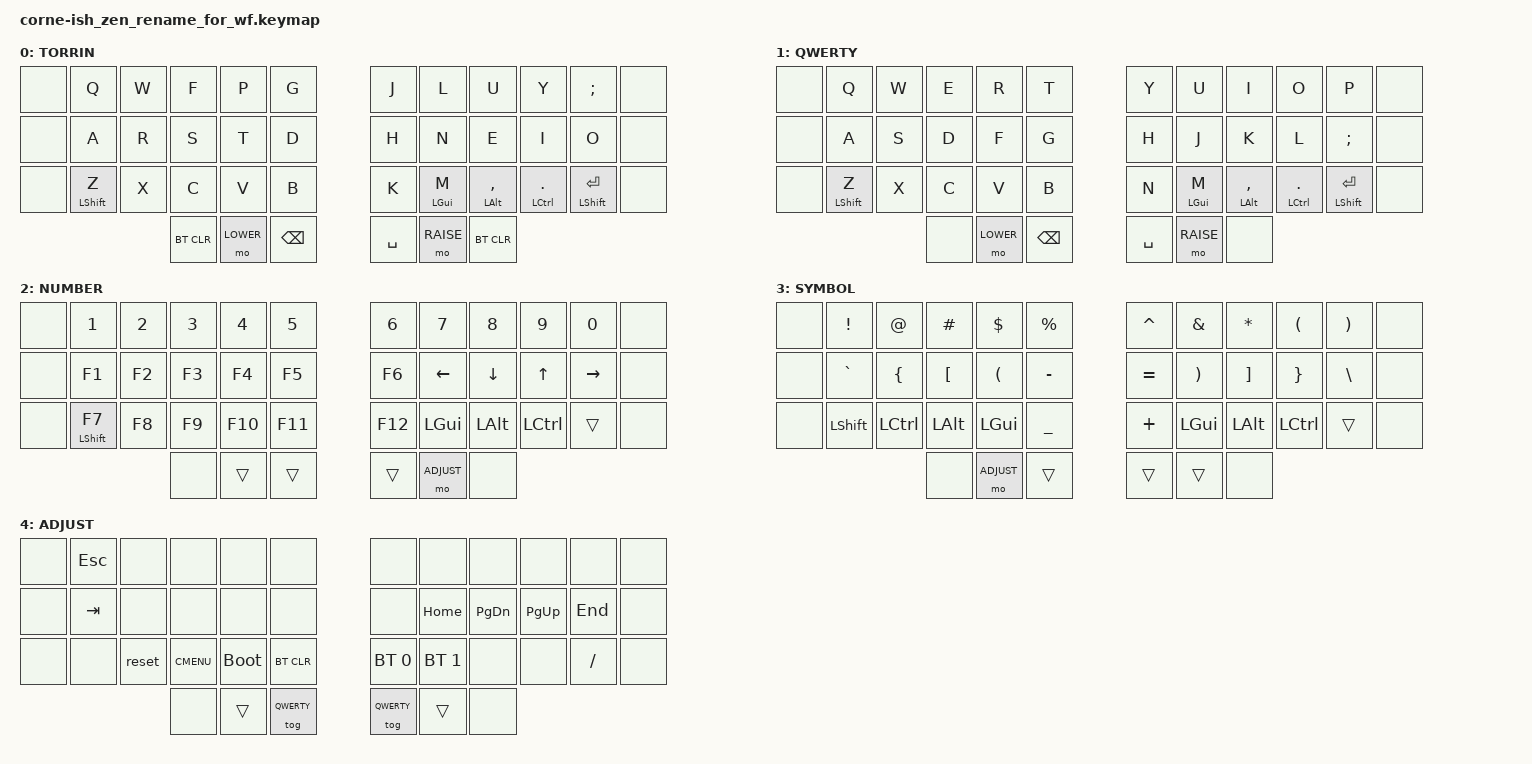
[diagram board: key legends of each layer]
/*
*
* Copyright (c) 2021 lowprokb.ca
* SPDX-License-Identifier: MIT
*
*/

#include <behaviors.dtsi>
#include <dt-bindings/zmk/keys.h>
#include <dt-bindings/zmk/bt.h>

#define DEFAULT 0
#define QWERTY  1
#define LOWER   2
#define RAISE   3
#define ADJUST  4

/ {
    combos {
    compatible = "zmk,combos";
		combo_apos {
			timeout-ms = <50>;
			key-positions = <21 22>;
			bindings = <&kp APOS>;
			layers = <0 1>;
		};
		combo_fslh {
			timeout-ms = <50>;
			key-positions = <33 34>;
			bindings = <&kp FSLH>;
			layers = <0 1>;
		};
		combo_del {
			timeout-ms = <50>;
			key-positions = <8 9>;
			bindings = <&kp DEL>;
		};
		combo_del2 {
			timeout-ms = <50>;
			key-positions = <9 10>;
			bindings = <&kp DEL>;
			layers = <2 3 4>;
		};
		combo_del3 {
			timeout-ms = <50>;
			key-positions = <13 14>;
			bindings = <&kp DEL>;
			layers = <2 3 4>;
		};
		combo_bspc {
			timeout-ms = <50>;
			key-positions = <9 10>;
			bindings = <&kp BKSP>;
			layers = <0 1>;
		};
		combo_bspc2 {
			timeout-ms = <50>;
			key-positions = <13 14>;
			bindings = <&kp BKSP>;
			layers = <0 1>;
		};
		combo_tab {
			timeout-ms = <50>;
			key-positions = <1 2>;
			bindings = <&kp TAB>;
			layers = <0 1>;

		};
		combo_esc {
			timeout-ms = <50>;
			key-positions = <2 3>;
			bindings = <&kp ESC>;
			layers = <0 1>;

		};
		combo_ctrl {
			timeout-ms = <50>;
			key-positions = <25 26>;
			bindings = <&kp LCTRL>;
			layers = <0 1>;

		};
		combo_alt {
			timeout-ms = <50>;
			key-positions = <26 27>;
			bindings = <&kp LALT>;
			layers = <0 1>;

		};
		combo_win {
			timeout-ms = <50>;
			key-positions = <27 28>;
			bindings = <&kp LGUI>;
			layers = <0 1>;

		};
	};
};

/ {
   behaviors {

		hm: homerow_mods {
			compatible = "zmk,behavior-hold-tap";
			label = "HOMEROW_MODS";
			#binding-cells = <2>;
			tapping_term_ms = <300>;
			flavor = "tap-preferred";
			bindings = <&kp>, <&kp>;
		};
    };
};

/ {
        keymap {
                compatible = "zmk,keymap";

                default_layer {
						label = "TORRIN";    
                        bindings = <
    &none    &kp Q        &kp W     &kp F       &kp P        &kp G      &kp J           &kp L       &kp U          &kp Y         &kp SEMI      &none
    &none    &kp A        &kp R     &kp S       &kp T        &kp D      &kp H           &kp N       &kp E          &kp I         &kp O         &none
    &none    &mt LSHFT Z  &kp X     &kp C       &kp V        &kp B      &kp K           &hm LGUI M  &hm LALT COMMA &hm LCTRL DOT &mt LSHFT RET &none
                                    &bt BT_CLR  &mo LOWER    &kp BSPC   &kp SPACE       &mo RAISE   &bt BT_CLR
                        >;
                };
				
                qwerty_layer {
						label = "QWERTY";   
                        bindings = <
    &none    &kp Q        &kp W     &kp E       &kp R        &kp T       &kp Y          &kp U       &kp I          &kp O         &kp P         &none
    &none    &kp A        &kp S     &kp D       &kp F        &kp G       &kp H          &kp J       &kp K          &kp L         &kp SEMI      &none
    &none    &mt LSHFT Z  &kp X     &kp C       &kp V        &kp B       &kp N          &hm LGUI M  &hm LALT COMMA &hm LCTRL DOT &mt LSHFT RET &none
                                    &none       &mo LOWER    &kp BSPC    &kp SPACE      &mo RAISE   &none
                        >;
                };

                lower_layer {
						label = "NUMBER";
                        bindings = <
    &none    &kp N1       &kp N2    &kp N3      &kp N4       &kp N5      &kp N6         &kp N7       &kp N8         &kp N9        &kp N0       &none
    &none    &kp F1       &kp F2    &kp F3      &kp F4       &kp F5      &kp F6         &kp LEFT     &kp DOWN       &kp UP        &kp RIGHT    &none
    &none    &mt LSHFT F7 &kp F8    &kp F9      &kp F10      &kp F11     &kp F12        &kp LGUI     &kp LALT       &kp LCTRL     &trans       &none
                                    &none       &trans       &trans      &trans         &mo ADJUST   &none
                        >;
                };

                raise_layer {
						label = "SYMBOL";    
                        bindings = <
    &none    &kp EXCL     &kp AT    &kp POUND   &kp DLLR     &kp PRCNT   &kp CARET      &kp AMPS     &kp STAR       &kp LPAR      &kp RPAR     &none
    &none    &kp GRAVE    &kp LBRC  &kp LBKT    &kp LPAR     &kp MINUS   &kp EQUAL      &kp RPAR     &kp RBKT       &kp RBRC      &kp BSLH     &none
    &none    &kp LSHFT    &kp LCTRL &kp LALT    &kp LGUI     &kp UNDER   &kp PLUS       &kp LGUI     &kp LALT       &kp LCTRL     &trans       &none
                                    &none       &mo ADJUST   &trans      &trans         &trans       &none
                        >;
                };
				
                adjust_layer {
						label = "ADJUST";
                        bindings = <
    &none    &kp ESC      &none     &none       &none        &none       &none         &none        &none          &none         &none         &none
    &none    &kp TAB      &none     &none       &none        &none       &none         &kp HOME     &kp PG_DN      &kp PG_UP     &kp END       &none
    &none    &none        &reset    &kp K_CMENU &bootloader  &bt BT_CLR  &bt BT_SEL 0  &bt BT_SEL 1 &none          &none         &kp FSLH      &none
                                    &none       &trans       &tog QWERTY &tog QWERTY   &trans       &none
                        >;
                };
        };
};
